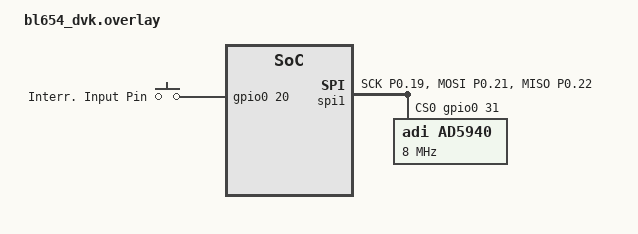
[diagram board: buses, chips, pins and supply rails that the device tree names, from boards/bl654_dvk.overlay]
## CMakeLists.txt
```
# SPDX-License-Identifier: Apache-2.0

cmake_minimum_required(VERSION 3.20.0)
find_package(Zephyr REQUIRED HINTS $ENV{ZEPHYR_BASE})
project(amperometric_interrupt_BL654)

target_sources(app PRIVATE
  src/main.c
  src/ad5940_lib/ad5940.c
  src/BL654Port.c
  src/cts/cts.c
  src/ChronoAmperometric.c
)
```

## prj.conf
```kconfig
# Increased stack due to settings API usage
# CONFIG_SYSTEM_WORKQUEUE_STACK_SIZE=2048

CONFIG_NEWLIB_LIBC=y and NEWLIB_LIBC_FLOAT_PRINTF=y

CONFIG_BT=y
CONFIG_BT_DEBUG_LOG=y
CONFIG_BT_SMP=y
CONFIG_BT_SIGNING=y
CONFIG_BT_PERIPHERAL=y
CONFIG_BT_DIS=y
CONFIG_BT_ATT_PREPARE_COUNT=5
CONFIG_BT_BAS=y
CONFIG_BT_HRS=y
CONFIG_BT_IAS=y
CONFIG_BT_PRIVACY=y
CONFIG_BT_DEVICE_NAME="Zephyr Peripheral Sample Long Name"
CONFIG_BT_DEVICE_APPEARANCE=833
CONFIG_BT_DEVICE_NAME_DYNAMIC=y
CONFIG_BT_DEVICE_NAME_MAX=65

CONFIG_BT_KEYS_OVERWRITE_OLDEST=y
CONFIG_BT_SETTINGS=y
CONFIG_FLASH=y
CONFIG_FLASH_PAGE_LAYOUT=y
CONFIG_FLASH_MAP=y
CONFIG_NVS=y
CONFIG_SETTINGS=y

CONFIG_GPIO=y
CONFIG_SPI=y
```

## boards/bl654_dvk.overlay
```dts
/{
	// updates to aliases
	aliases
	{
		int0 = &button5;
	};

	// updates to buttons
	buttons
	{
		compatible = "gpio-keys";

		button5: button_5
		{
			gpios = <&gpio0 20 GPIO_PULL_UP>;
			label = "Interr. Input Pin";
		};
	};
};

&i2c0
{
	compatible = "nordic,nrf-twi";
	status = "disabled";
	pinctrl-0 = <&i2c0_default>;
	pinctrl-1 = <&i2c0_sleep>;
	pinctrl-names = "default", "sleep";
	dac0: mcp4725@60 {
		/* MCP4725 not populated at factory */
		compatible = "microchip,mcp4725";
		reg = <0x60>;
		#io-channel-cells = <1>;
		status = "disabled";
	};
};

&spi0
{
	compatible = "nordic,nrf-spi";
	/* Cannot be used together with i2c0. */
	status = "disabled";
	cs-gpios = <&gpio1 12 GPIO_ACTIVE_LOW>;
	pinctrl-0 = <&spi0_default>;
	pinctrl-1 = <&spi0_sleep>;
	pinctrl-names = "default", "sleep";
};

/*
&spi1 {
	compatible = "nordic,nrf-spi";
	status = "disabled";
	cs-gpios = <&gpio0 17 GPIO_ACTIVE_LOW>;
	pinctrl-0 = <&spi1_default>;
	pinctrl-1 = <&spi1_sleep>;
	pinctrl-names = "default", "sleep";
	mx25r6435f@0 {
		compatible = "jedec,spi-nor";
		reg = <0>;
		spi-max-frequency = <80000000>;
		jedec-id = [c2 28 17];
		size = <67108864>;
		wp-gpios = <&gpio0 22 0>;
		hold-gpios = <&gpio0 23 0>;
	};
};
*/

&spi1
{
   /delete-node/ mx25r6435f@0;

   status = "okay";
   cs-gpios = <&gpio0 31 GPIO_ACTIVE_HIGH>;
   pinctrl-0 = <&spi1_default>;
   pinctrl-1 = <&spi1_sleep>;
   pinctrl-names = "default", "sleep";
   ad5940: ad5940@0
   {
		compatible = "adi,ad5940";
		reg = <0>;
		spi-max-frequency = <8000000>;
		label = "ad5940";
	};
 };

&pinctrl {
	spi1_default: spi1_default {
			group1 {
					psels = <NRF_PSEL(SPIM_SCK, 0, 19)>,
							<NRF_PSEL(SPIM_MOSI, 0, 21)>,
							<NRF_PSEL(SPIM_MISO, 0, 22)>;
			};
	};
	spi1_sleep: spi1_sleep {
			group1 {
					psels = <NRF_PSEL(SPIM_SCK, 0, 19)>,
							<NRF_PSEL(SPIM_MOSI, 0, 21)>,
							<NRF_PSEL(SPIM_MISO, 0, 22)>;
					low-power-enable;
			};
	};
};
```

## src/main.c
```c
#include <stdio.h>
#include <drivers/gpio.h>
#include <drivers/spi.h>
#include "ad5940_lib/ad5940.h"

#include <zephyr/types.h>
#include <stddef.h>
#include <string.h>
#include <errno.h>
#include <zephyr/sys/printk.h>
#include <zephyr/sys/byteorder.h>
#include <zephyr/zephyr.h>
#include <zephyr/settings/settings.h>

#include "math.h"
#include "ChronoAmperometric.h"

#define APPBUFF_SIZE 1000
#define n 3
#ifdef __ICCARM__
#pragma location="never_retained_ram"
#endif
uint32_t AppBuff[n][APPBUFF_SIZE];
float LFOSCFreq;
uint32_t IntCount = 0;


// define device tree node for the "led0" alias
#define LED0_NODE DT_ALIAS(led0)

// create struct of the led properties
static const struct gpio_dt_spec led = GPIO_DT_SPEC_GET(LED0_NODE, gpios);

#define ADCPGA_GAIN_SEL ADCPGA_1P5      // constant value = 1 (AD5941 PGA for ADC is 1.5)

/* Initialize AD5940 basic blocks like clock */
static int32_t AD5940PlatformCfg(void)
{
  CLKCfg_Type clk_cfg;
  FIFOCfg_Type fifo_cfg;
  AGPIOCfg_Type gpio_cfg;
  LFOSCMeasure_Type LfoscMeasure;

/* Use hardware reset */
  AD5940_HWReset();

  /* Platform configuration */
  AD5940_Initialize();
  /* Step1. Configure clock */
  clk_cfg.ADCClkDiv = ADCCLKDIV_1;
  clk_cfg.ADCCLkSrc = ADCCLKSRC_HFOSC;
  clk_cfg.SysClkDiv = SYSCLKDIV_1;
  clk_cfg.SysClkSrc = SYSCLKSRC_HFOSC;
  clk_cfg.HfOSC32MHzMode = bFALSE;
  clk_cfg.HFOSCEn = bTRUE;
  clk_cfg.HFXTALEn = bFALSE;
  clk_cfg.LFOSCEn = bTRUE;
  AD5940_CLKCfg(&clk_cfg);
  /* Step2. Configure FIFO and Sequencer*/
  fifo_cfg.FIFOEn = bFALSE;
  fifo_cfg.FIFOMode = FIFOMODE_FIFO;
  fifo_cfg.FIFOSize = FIFOSIZE_4KB;                       /* 4kB for FIFO, The reset 2kB for sequencer */
  fifo_cfg.FIFOSrc = FIFOSRC_DFT;
  fifo_cfg.FIFOThresh = 4;//AppAMPCfg.FifoThresh;        /* DFT result. One pair for RCAL, another for Rz. One DFT result have real part and imaginary part */
  AD5940_FIFOCfg(&fifo_cfg);                             /* Disable to reset FIFO. */
	fifo_cfg.FIFOEn = bTRUE;  
  AD5940_FIFOCfg(&fifo_cfg);                             /* Enable FIFO here */
  
  /* Step3. Interrupt controller */
  AD5940_INTCCfg(AFEINTC_1, AFEINTSRC_ALLINT, bTRUE);           /* Enable all interrupt in Interrupt Controller 1, so we can check INTC flags */
  AD5940_INTCClrFlag(AFEINTSRC_ALLINT);
  AD5940_INTCCfg(AFEINTC_0, AFEINTSRC_DATAFIFOTHRESH|AFEINTSRC_ENDSEQ, bTRUE);   /* Interrupt Controller 0 will control GP0 to generate interrupt to MCU */
  AD5940_INTCClrFlag(AFEINTSRC_ALLINT);
  /* Step4: Reconfigure GPIO */
  gpio_cfg.FuncSet = GP6_SYNC|GP5_SYNC|GP4_SYNC|GP2_TRIG|GP1_SYNC|GP0_INT;
  gpio_cfg.InputEnSet = AGPIO_Pin2;
  gpio_cfg.OutputEnSet = AGPIO_Pin0|AGPIO_Pin1|AGPIO_Pin4|AGPIO_Pin5|AGPIO_Pin6;
  gpio_cfg.OutVal = 0;
  gpio_cfg.PullEnSet = 0;
  AD5940_AGPIOCfg(&gpio_cfg);
	
	AD5940_SleepKeyCtrlS(SLPKEY_UNLOCK);  /* Enable AFE to enter sleep mode. */
  /* Measure LFOSC frequency */
  LfoscMeasure.CalDuration = 1000.0;  /* 1000ms used for calibration. */
  LfoscMeasure.CalSeqAddr = 0;
  LfoscMeasure.SystemClkFreq = 16000000.0f; /* 16MHz in this firmware. */
  AD5940_LFOSCMeasure(&LfoscMeasure, &LFOSCFreq);
  
  // printf("Freq:%f\n", LFOSCFreq); 
  
  float x = LFOSCFreq;
  int x_int = (int) x;		// integer part
  int x_frac = (int) ((x - x_int) * 10000);
  printf("Freq: %d.%04d Hz\n\r", x_int, x_frac);
	
  return 0;
}

/* !!Change the application parameters here if you want to change it to none-default value */
void AD5940AMPStructInit(void)
{
  AppCHRONOAMPCfg_Type *pAMPCfg; 
  AppCHRONOAMPGetCfg(&pAMPCfg);
  /* Configure general parameters */
	pAMPCfg->WuptClkFreq = LFOSCFreq;					/* Use measured 32kHz clock freq for accurate wake up timer */
  pAMPCfg->SeqStartAddr = 0;
  pAMPCfg->MaxSeqLen = 512; 								/* @todo add checker in function */
  pAMPCfg->RcalVal = 10000.0;
  pAMPCfg->NumOfData = -1;      						/* Never stop until you stop it manually by AppAMPCtrl() function */
	
	pAMPCfg->AmpODR = 1;
	pAMPCfg->FifoThresh = 5;
	pAMPCfg->ADCRefVolt = 1.82;							/* Measure voltage on VREF_1V8 pin and add here */
	
	pAMPCfg->ExtRtia = bFALSE;			/* Set to true if using external Rtia */
	pAMPCfg->ExtRtiaVal = 10000000; /* Enter external Rtia value here is using one */
	pAMPCfg->LptiaRtiaSel = LPTIARTIA_1K;		/* Select TIA gain resistor. */
	
	pAMPCfg->SensorBias = 0;   /* Sensor bias voltage between reference and sense electrodes*/
	pAMPCfg->Vzero = 1100;
	/* Configure Pulse*/
	pAMPCfg->pulseAmplitude = 500;						/* Pulse amplitude on counter electrode (mV) */
	pAMPCfg->pulseLength = 500;								/* Length of voltage pulse in ms */		
}



// 1000 msec = 1 sec (used to control the LED blinking frequency)
#define SLEEP_TIME_MS   1000

/*
///////////////////////////////////////////////////////// display the result in UART
int32_t AMPShowResult(float *pData, uint32_t DataCount)
{
   

    // float bias_current = 39.5;
    // x = x - bias_current;

    // process the measured differential voltage
    int x_int = (int) x;		// integer part
    int x_frac = (int) ((x - x_int) * 10000);
	// print to serial terminal
	// printf ("Int = %d, Decimal = %d \n\r", diff_volt_int, diff_volt_dec_int);
    printf("Current: %d.%04d uA\n\r", x_int, x_frac);

    return 0;
}//end
*/

/* It's your choice here what to do with the data. Here is just an example to print to UART */
int32_t AMPShowResult(float *pData, uint32_t DataCount)
{
  /*static*/ uint32_t index = 0;
  /* Print data*/
  if(!IntCount) index = 0;
  for(int i=0;i<DataCount;i++)
  {
    float x = pData[i];
    int x_int = (int) x;                             // extract the integer part
    int x_frac = (int) (fabs(x - x_int) * 10000);    // extract the fractional part (ensuring it's positive)
    printf("Current: %d.%04d uA\n\r", x_int, x_frac);
    // printf("index:%d, Current:%fuA\n", index++, pData[i]);
  }
  return 0;
}

////////////////////////////////////////////////// MAIN //////////////////////////////////////
void main(void)
{
    // define return variable
	int ret;

    // check if led device is ready
	if (!device_is_ready(led.port)) { return; }

    // set the led to active-high output
	ret = gpio_pin_configure_dt(&led, GPIO_OUTPUT_ACTIVE);
	if (ret < 0) { return; }

    // toggle the led 5 times before starting the program
	int led_counter = 0;
    while (led_counter < 5)
	{
		gpio_pin_toggle_dt(&led);
		k_msleep(SLEEP_TIME_MS);
		led_counter = led_counter + 1;
	}//end while

      // setup the MCU resources for connecting with AD5940
    AD5940_MCUResourceInit(0);
    AD5940_Delay10us(50000);        // delay 500 m

    printf("MCU initialized \n\r");
    
    uint32_t temp[n];
    AppCHRONOAMPCfg_Type *pAMPCfg;
    AppCHRONOAMPGetCfg(&pAMPCfg);
    AD5940PlatformCfg();
    AD5940_Delay10us(50000);    // delay 500 m
    printf("Platform configured \n\r");
  
    AD5940AMPStructInit(); /* Configure your parameters in this function */
    AD5940_Delay10us(50000);    // delay 500 m
    printf("Parameters configured \n\r");
  
    AppCHRONOAMPInit(AppBuff[0], APPBUFF_SIZE);    /* Initialize AMP application. Provide a buffer, which is used to store sequencer commands */
    AD5940_Delay10us(50000);    // delay 500 m
    
    AppCHRONOAMPCtrl(CHRONOAMPCTRL_PULSETEST, 0);         /* Control AMP measurement. AMPCTRL_PULSETEST carries out pulse test*/
 
    while(1)
    {
        /* Check if interrupt flag which will be set when interrupt occurred. */
        if(AD5940_GetMCUIntFlag())
        {
            // printf("Interrupt detected  \n\r");

            AD5940_ClrMCUIntFlag(); /* Clear this flag */
            temp[IntCount] = APPBUFF_SIZE;
            AppCHRONOAMPISR(AppBuff[IntCount], &temp[IntCount]); /* Deal with it and provide a buffer to store data we got */
			if(pAMPCfg->bMeasureTransient == bFALSE)
			{
				AMPShowResult((float*)AppBuff[0], temp[0]);
			}
            if(pAMPCfg->EndSeq) /* End sequence only set at end of transient */
            {
                for(int i = 0; i<IntCount; i++)
            {
                AMPShowResult((float*)AppBuff[i], temp[i]); /* Show the results to UART */
            }
            pAMPCfg->EndSeq = bFALSE;
            pAMPCfg->bMeasureTransient = bFALSE;
            IntCount = 0;
			AppCHRONOAMPCtrl(CHRONOAMPCTRL_START, 0); /* Begin standard amperometric measurement after pulse test is complete */
      }
    }
  }
    // call platform configuration
    // AD5940PlatformCfg();
    // AD5940_Delay10us(50000);    // delay 500 m
    // printf("Platform configured \n\r");

    // AD5940AMPStructInit();      // Configure your parameters in this function
    // AD5940_Delay10us(50000);    // delay 500 m
    // printf("Parameters configured \n\r");

    // setup AMP application (provide a buffer, which is used to store sequencer commands)
    // AppAMPInit(AppBuff, APPBUFF_SIZE);
    // AD5940_Delay10us(50000);    // delay 500 m

    // control AMP measurement to start (s)
    // AppAMPCtrl(AMPCTRL_START, 0);
    // AD5940_Delay10us(50000);    // delay 500 m
    // printf("Application started  \n\r");

    /////////////////////////////////////////////// Main Loop
    /*
    while (1)
    {
        // printf("Waiting for interrupt \n\r");
      
        if(AD5940_GetMCUIntFlag())
        {
            printf("Interrupt detected \n\r");

            AD5940_ClrMCUIntFlag(); // Clear this flag 

            /// display data
            uint32_t temp = APPBUFF_SIZE;
            AppAMPISR(AppBuff, &temp);
            AMPShowResult((float*)AppBuff, temp);
        }
        else
        {
            AD5940_Delay10us(10);  // delay 1 sec
        }

        AD5940_Delay10us(10);  // delay 1 sec

    }//end while
    */

    /*

    // setup the MCU resources for connecting to AD5940 (initializae the MCU - defined in BL654Port.c)
    AD5940_MCUResourceInit(0);

	// ADC measurement of AD5940/41
    ADCBaseCfg_Type adc_base;
    ADCFilterCfg_Type adc_filter;

    // Use hardware reset (RESET pin is set and reset)
    AD5940_HWReset();

    // initialize the AD5941 device by writing to its registers
    AD5940_Initialize();

	// PGA calibration function
    AD5940_PGA_Calibration();

    // configure AFE power mode and bandwidth
    AD5940_AFEPwrBW(AFEPWR_LP, AFEBW_250KHZ);

    // initialize the ADC basic function (measurement is done based on DAC 1.82 V reference)
    AD5940_AFECtrlS(AFECTRL_DACREFPWR|AFECTRL_HSDACPWR, bTRUE);

	// set the differential inputs for the ADC
	adc_base.ADCMuxP = ADCMUXP_VREF1P8DAC; 		    // 1.8 V
    // adc_base.ADCMuxP = ADCMUXP_VREF2P5;          // positive input set to 1.25 V
    adc_base.ADCMuxN = ADCMUXN_VSET1P1;    			// negative input set to 1.1 V
	// select the programmable gain defined
    adc_base.ADCPga = ADCPGA_GAIN_SEL;
    AD5940_ADCBaseCfgS(&adc_base);

    // Initialize the ADC filters ADCRawData-->SINC3-->SINC2+NOTCH
    adc_filter.ADCSinc3Osr = ADCSINC3OSR_4;
    adc_filter.ADCSinc2Osr = ADCSINC2OSR_1333;
    adc_filter.ADCAvgNum = ADCAVGNUM_2;         // Don't care about it. Average function is only used for DFT
    adc_filter.ADCRate = ADCRATE_800KHZ;        // If ADC clock is 32MHz, then set it to ADCRATE_1P6MHZ. Default is 16MHz, use ADCRATE_800KHZ.
    adc_filter.BpNotch = bTRUE;                 // SINC2+Notch is one block, when bypass notch filter, we can get fresh data from SINC2 filter.
    adc_filter.BpSinc3 = bFALSE;                // We use SINC3 filter.
    adc_filter.Sinc2NotchEnable = bTRUE;        // Enable the SINC2+Notch block. You can also use function AD5940_AFECtrlS
    AD5940_ADCFilterCfgS(&adc_filter);

    //AD5940_ADCMuxCfgS(ADCMUXP_AIN2, ADCMUXN_VSET1P1);   // Optionally, you can change ADC MUX with this function

    // Enable all interrupt at Interrupt Controller 1. So we can check the interrupt flag
    AD5940_INTCCfg(AFEINTC_1, AFEINTSRC_ALLINT, bTRUE);

    //AD5940_AFECtrlS(AFECTRL_ADCPWR|AFECTRL_SINC2NOTCH, bTRUE);
    //AD5940_AFECtrlS(AFECTRL_ADCCNV, bTRUE);
    AD5940_ADCPowerCtrlS(bTRUE);
    AD5940_ADCConvtCtrlS(bTRUE);

	// keep reading ADC value and send to the mobile app via BLE protocol
    while(1)
    {
        uint32_t rd;

        if(AD5940_INTCTestFlag(AFEINTC_1,AFEINTSRC_SINC2RDY))
        {
            static uint32_t count;
            AD5940_INTCClrFlag(AFEINTSRC_SINC2RDY);
            rd = AD5940_ReadAfeResult(AFERESULT_SINC2);
            count ++;

            // ADC Sample rate is 800kSPS. SINC3 OSR is 4, SINC2 OSR is 1333.
            // So the final output data rate is 800 kSPS/4/1333 = 150.0375 Hz
            if(count == 150) // Print the data @0.5Hz
            {
                count = 0;
                float diff_volt = AD5940_ADCCode2Volt(rd, ADCPGA_GAIN_SEL, 1.82);

				// process the measured differential voltage
                int diff_volt_int = (int) diff_volt;		// integer part
                int diff_volt_frac = (int) ((diff_volt - diff_volt_int) * 10000);
				// print to serial terminal
				// printf ("Int = %d, Decimal = %d \n\r", diff_volt_int, diff_volt_dec_int);
                printf("Differential Voltage: %d.%04d V\n\r", diff_volt_int, diff_volt_frac);
            }//end if

        }//end if

    }//end while

    */

}//end main
```

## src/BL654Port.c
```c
#include <stdio.h>
#include <zephyr/zephyr.h>
#include <drivers/gpio.h>
#include <drivers/spi.h>

////////////////// This code is required to allow the BL654 module to use the AD5940 library

/* The devicetree node identifier for using the GPIO pins */
#define GPIO_NODE DT_NODELABEL(gpio0)
#define SPI_NODE DT_NODELABEL(spi1)

#define RESET_PIN 30
#define CS_PIN 31

////////////////////////////////////// input pin connected to output interrupt of AD5940
#define INT_PIN_NODE DT_ALIAS(int0)
static const struct gpio_dt_spec button = GPIO_DT_SPEC_GET_OR(INT_PIN_NODE, gpios, {0});
static struct gpio_callback button_cb_data;

// define the GPIO device
const struct device *const gpio_dev = DEVICE_DT_GET(GPIO_NODE);
// define the SPI device
const struct device *const spi_dev = DEVICE_DT_GET(SPI_NODE);

// define the return value
int ret = 0;

// interrupt indicator flag (interrupt occurred if ucInterrupted == 1)
volatile static uint8_t ucInterrupted = 0;

// executed when button pressed (interrupt occurred)
void button_pressed(const struct device *dev, struct gpio_callback *cb, uint32_t pins)
{
    ucInterrupted = gpio_pin_get_dt(&button);
}

/////////////////////////////////////////// delay function: resulting delay (uS) = input (uint32_t) x 10 us)
void AD5940_Delay10us(uint32_t time)
{
    if (time == 0) time = 1;
    uint32_t time_total_us = time * 10 ;
    k_usleep(time_total_us);
}//end

/////////////////////////////////////////// return interrupt indicator flag
uint32_t AD5940_GetMCUIntFlag(void)
{
    return ucInterrupted;
}//end

/////////////////////////////////////////// clear interrupt indicator flag
uint32_t AD5940_ClrMCUIntFlag(void)
{
    ucInterrupted = 0;
    return 1;
}//end

/////////////////////////////////////////// clear CS pin of AD5940
void AD5940_CsClr(void)
{
    // clear CS_PIN
    gpio_pin_set(gpio_dev, CS_PIN, 0);
}//end

/////////////////////////////////////////// set CS pin of AD5940
void AD5940_CsSet(void)
{
    // set CS_PIN
    gpio_pin_set(gpio_dev, CS_PIN, 1);
}//end

/////////////////////////////////////////// clear RESET pin of AD5940
void AD5940_RstClr(void)
{
    // clear RESET_PIN
    gpio_pin_set(gpio_dev, RESET_PIN, 0);
}//end

/////////////////////////////////////////// set RESET pin of AD5940
void AD5940_RstSet(void)
{
     // set RESET_PIN
    gpio_pin_set(gpio_dev, RESET_PIN, 1);
}//end

/////////////////////////////////////////////////////////////// spi configuration
static const struct spi_config spi_cfg =
{
    // SPI_OP_MODE_MASTER
    // SPI_WORD_SET(_word_size_) = 8 bits
    // Clock Polarity: set low (default): SPI_MODE_CPOL
    // Clock Phase: set high
    // First bit: MSB
		.operation = SPI_WORD_SET(8) | SPI_TRANSFER_MSB | SPI_OP_MODE_MASTER,
	.frequency = 16000000,
    // .frequency = 8000000,
    // .frequency = 125000,
    // .frequency = 1000000,
};

/////////////////////////////////////////// setup function: MCU peripherals (GPIO pins, SPI, interrupt)
uint32_t AD5940_MCUResourceInit(void *pCfg)
{
    // set the AD5941 CS pin and the RESET pin to outputs

    // SIO_31 connected to CS pin
    ret = gpio_pin_configure(gpio_dev, CS_PIN, GPIO_OUTPUT);
    if (ret < 0) { 	printf("error A ... \n\r") ; }

    // SIO_30 connected to RESET pin
    ret = gpio_pin_configure(gpio_dev, RESET_PIN, GPIO_OUTPUT);
    if (ret < 0) { 	printf("error B ... \n\r") ; }

    if(!device_is_ready(spi_dev))
    {
		printf("SPI master device is not ready!\n");
	}

    // activate the SPI functionality on the designated pins

    /*
     * SPI configuration based on AD5940 requirements:
     *  data size = 8 bits
     *  CLK polarity = LOW (inactive is low CLK)
     *  CLK phase = HIGH (data is captured on the first UCLK edge and changed on the following edge)
     *  master mode = enabled
     *  SYNC mode = enabled
     *  first bit = Most Significant Bit
     *  SPI clock = SMCLK 8 MHz (should be less than 16 MHz)
     *  pre-scalar setting (0x20 = 32, F(BitClock) = F(BRCLK) / 32)
     */

    // enable external interrupt on pin
    // configure the input button as input
    ret = gpio_pin_configure_dt(&button, GPIO_INPUT);
    if (ret != 0)
    {
        printk("Error %d: failed to configure %s pin %d\n", ret, button.port->name, button.pin);
    }

    // configure the interrupt for button
    ret = gpio_pin_interrupt_configure_dt(&button, GPIO_INT_EDGE_TO_ACTIVE);
    if (ret != 0)
    {
        printk("Error %d: failed to configure interrupt on %s pin %d\n", ret, button.port->name, button.pin);
    }

    gpio_init_callback(&button_cb_data, button_pressed, BIT(button.pin));
    gpio_add_callback(button.port, &button_cb_data);

    return 0;
}//end

//////////////////////////////////////// Read and Write function
void AD5940_ReadWriteNBytes(unsigned char *pSendBuffer, unsigned char *pRecvBuff, unsigned long length)
{
	const struct spi_buf tx_buf =
    {
		.buf = pSendBuffer,
		.len = length
	};
	const struct spi_buf_set tx =
    {
		.buffers = &tx_buf,
		.count = 1
	};

	struct spi_buf rx_buf =
    {
		.buf = pRecvBuff,
		.len = length,
	};
	const struct spi_buf_set rx =
    {
		.buffers = &rx_buf,
		.count = 1
	};

	// Start transaction
	int error = spi_transceive(spi_dev, &spi_cfg, &tx, &rx);
	if(error != 0)
    {
		printf("SPI transceive error \n");
	}

 }//end
```

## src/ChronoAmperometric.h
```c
/*!
 *****************************************************************************
 @file:    ChronoAmperometric.h
 @author:  $Author: nxu2 $
 @brief:   ChronoAmperometric measurement header file.
 @version: $Revision: 766 $
 @date:    $Date: 2017-08-21 14:09:35 +0100 (Mon, 21 Aug 2017) $
 -----------------------------------------------------------------------------

Copyright (c) 2017-2019 Analog Devices, Inc. All Rights Reserved.

This software is proprietary to Analog Devices, Inc. and its licensors.
By using this software you agree to the terms of the associated
Analog Devices Software License Agreement.
 
*****************************************************************************/
#ifndef _CHRONOAMPEROMETRIC_H_
#define _CHRONOAMPEROMETRIC_H_
#include "ad5940_lib/ad5940.h"
#include "stdio.h"
#include "string.h"
#include "math.h"

#define DAC12BITVOLT_1LSB   (2200.0f/4095)  //mV
#define DAC6BITVOLT_1LSB    (DAC12BITVOLT_1LSB*64)  //mV
/* 
  Note: this example will use SEQID_0 as measurement sequence, and use SEQID_1 as init sequence. 
  SEQID_3 is used for calibration.
*/

typedef struct
{
/* Common configurations for all kinds of Application. */
  BoolFlag bParaChanged;        /* Indicate to generate sequence again. It's auto cleared by AppCHRONOAMPInit */
  uint32_t SeqStartAddr;        /* Initialaztion sequence start address in SRAM of AD5940  */
  uint32_t MaxSeqLen;           /* Limit the maximum sequence.   */
  uint32_t SeqStartAddrCal;     /* Measurement sequence start address in SRAM of AD5940 */
  uint32_t MaxSeqLenCal;
  
/* Application related parameters */ 
  BoolFlag ReDoRtiaCal;         /* Set this flag to bTRUE when there is need to do calibration. */
  float SysClkFreq;             /* The real frequency of system clock */
  float WuptClkFreq;            /* The clock frequency of Wakeup Timer in Hz. Typically it's 32kHz. Leave it here in case we calibrate clock in software method */
  float AdcClkFreq;             /* The real frequency of ADC clock */
  uint32_t FifoThresh;           /* FIFO threshold. Should be N*4 */   
  float AmpODR;                 /* in Hz. ODR decides the period of WakeupTimer who will trigger sequencer periodically. DFT number and sample frequency decides the maxim ODR. */
  int32_t NumOfData;            /* By default it's '-1'. If you want the engine stops after get NumofData, then set the value here. Otherwise, set it to '-1' which means never stop. */
  float RcalVal;                /* Rcal value in Ohm */
  uint32_t PwrMod;              /* Control Chip power mode(LP/HP) */
  
/* Receive path configuration */ 
  uint32_t ADCPgaGain;          /* PGA Gain select from GNPGA_1, GNPGA_1_5, GNPGA_2, GNPGA_4, GNPGA_9 !!! We must ensure signal is in range of +-1.5V which is limited by ADC input stage */   
  uint8_t ADCSinc3Osr;          /* SINC3 OSR selection. ADCSINC3OSR_2, ADCSINC3OSR_4 */
  uint8_t ADCSinc2Osr;          /* SINC2 OSR selection. ADCSINC2OSR_22...ADCSINC2OSR_1333 */
  uint32_t DataFifoSrc;         /* DataFIFO source. DATATYPE_ADCRAW, DATATYPE_SINC3 or DATATYPE_SINC2*/
  uint32_t LptiaRtiaSel;        /* Use internal RTIA, select from RTIA_INT_200, RTIA_INT_1K, RTIA_INT_5K, RTIA_INT_10K, RTIA_INT_20K, RTIA_INT_40K, RTIA_INT_80K, RTIA_INT_160K */
  uint32_t LpTiaRf;             /* Rfilter select */
  uint32_t LpTiaRl;             /* SE0 Rload select */
  fImpPol_Type RtiaCalValue;           /* Calibrated Rtia value */
  BoolFlag ExtRtia;             /* Use internal or external Rtia */
  uint32_t HstiaRtiaSel;        /* Use internal RTIA, select from RTIA_INT_200, RTIA_INT_1K, RTIA_INT_5K, RTIA_INT_10K, RTIA_INT_20K, RTIA_INT_40K, RTIA_INT_80K, RTIA_INT_160K */
  uint32_t CtiaSel;             /* Select CTIA in pF unit from 0 to 31pF */
  
/* LPDAC Config */
  float Vzero;                  /* Voltage on SE0 pin and Vzero*/
  float Vbias;                  /* Voltage on CE0 and PA */
	float SensorBias;             /* Sensor bias voltage = VRE0 - VSE0 */
  float pulseAmplitude;                  /* High voltage level */
  float voltL;                  /* Low voltage level */
  float ADCRefVolt;               /*Vref value */
  float ExtRtiaVal;							/* External Rtia value if using one */
	
	
  uint32_t pulseLength;          /* length of transient measure */
  BoolFlag EndSeq;
	
  BoolFlag bMeasureTransient;
  BoolFlag CHRONOAMPInited;                       /* If the program run firstly, generated sequence commands */
  SEQInfo_Type InitSeqInfo;
  SEQInfo_Type MeasureSeqInfo;
  SEQInfo_Type TransientSeqInfo;
  BoolFlag StopRequired;          /* After FIFO is ready, stop the measurement sequence */
  uint32_t FifoDataCount;         /* Count how many times impedance have been measured */
/* End */
}AppCHRONOAMPCfg_Type;

/**
 * int32_t type Impedance result in Cartesian coordinate 
*/
typedef struct
{
  float Current;
  float Voltage;
}fAmpRes_Type;



#define CHRONOAMPCTRL_START          0
#define CHRONOAMPCTRL_STOPNOW        1
#define CHRONOAMPCTRL_STOPSYNC       2
#define CHRONOAMPCTRL_SHUTDOWN       4   /* Note: shutdown here means turn off everything and put AFE to hibernate mode. The word 'SHUT DOWN' is only used here. */
#define CHRONOAMPCTRL_PULSETEST      5
AD5940Err AppCHRONOAMPGetCfg(void *pCfg);
AD5940Err AppCHRONOAMPInit(uint32_t *pBuffer, uint32_t BufferSize);
AD5940Err AppCHRONOAMPISR(void *pBuff, uint32_t *pCount);
AD5940Err AppCHRONOAMPCtrl(int32_t AmpCtrl, void *pPara);
uint32_t AppCHRONOAMPCalcDataNum(uint32_t time);
float AppCHRONOAMPCalcVoltage(uint32_t ADCcode);
float AppCHRONOAMPCalcCurrent(uint32_t ADCcode);

#endif
```
